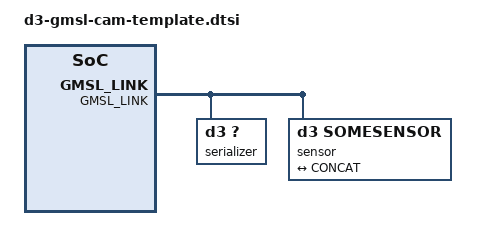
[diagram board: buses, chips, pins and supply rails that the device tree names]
/*
 * Copyright (c) 2018-2019, D3 Engineering. All rights reserved.
 *
 * This program is free software; you can redistribute it and/or modify
 * it under the terms of the GNU General Public License as published by
 * the Free Software Foundation; version 2 of the License.
 *
 * This program is distributed in the hope that it will be useful, but WITHOUT
 * ANY WARRANTY; without even the implied warranty of MERCHANTABILITY or
 * FITNESS FOR A PARTICULAR PURPOSE.  See the GNU General Public License for
 * more details.
 */

#define X_CONCAT(a,b) a##b
#define CONCAT(a,b) X_CONCAT(a,b)

#define XX_STR_CONCAT(a) #a
#define X_STR_CONCAT(a,b) XX_STR_CONCAT(a##b)
#define STR_CONCAT(a,b) X_STR_CONCAT(a,b)

#define HEX_PREFIX(a) CONCAT(0x, a)

&GMSL_LINK {
	serializer@SER_ADDR {
		compatible = "d3,?";
		status = "okay";
		reg = <HEX_PREFIX(SER_ADDR)>;
		#address-cells = <1>;
		#size-cells = <0>;

	};
	sensor@IMG_ADDR {
		status = "okay";
		compatible = "d3,somesensor";
		reg = <HEX_PREFIX(IMG_ADDR)>;
		devnode = "CONCAT(video,PORT_IDX)";

		physical_w = "27.30";
		physical_h = "21.80";
		sensor_model = "sensor_?";
		use_decibel_gain = "true";

		mode0 {
			mclk_khz = "27000";
			num_lanes = "2";
			tegra_sinterface = TEGRA_SINTERFACE;
			discontinuous_clk = "no";
			dpcm_enable = "false";
			cil_settletime = "0";
			csi_pixel_bit_depth = "12";
			mode_type = "bayer";
			pixel_phase = "rggb";
			active_w = "1936";
			active_h = "1100";
			readout_orientation = "0";
			line_length = "4400";
			inherent_gain = "1";
			mclk_multiplier = "5";
			pix_clk_hz = "148500000";

			/* 1-30 dB in .3 dB steps */
			min_gain_val = "1.0";
			max_gain_val = "30.0";
			min_framerate = "30";
			max_framerate = "30";

			/* Units are microseconds */
			min_exp_time = "30";
			max_exp_time = "33333";
			embedded_metadata_height = "1";
		};
		ports {
			#address-cells = <1>;
			#size-cells = <0>;
			port@0 {
				reg = <0>;
				CONCAT(sen_out,PORT_IDX): endpoint {
					status = "okay";
					port-index = <CSI_PORT>;
					bus-width = <2>;
					remote-endpoint = <&CONCAT(csi_in,PORT_IDX)>;
				};
			};
		};
	};
};

&vi_base {
	ports {
		port@CSI_PORT {
			status = "okay";
			reg = <CSI_PORT>;
			CONCAT(vi_in,PORT_IDX): endpoint {
				status = "okay";
				port-index = <CSI_PORT>;
				bus-width = <2>;
				remote-endpoint = <&CONCAT(csi_out,PORT_IDX)>;
			};
		};
	};
};

&csi_base {
	channel@CSI_PORT {
		status = "okay";
		reg = <CSI_PORT>;
		ports {
			port@0 {
				status = "okay";
				reg = <0>;
				CONCAT(csi_in,PORT_IDX): endpoint@ENDPOINT_A {
					status = "okay";
					port-index = <CSI_PORT>;
					bus-width = <2>;
					remote-endpoint = <&CONCAT(sen_out,PORT_IDX)>;
				};
			};

			port@1 {
				status = "okay";
				reg = <1>;
				CONCAT(csi_out,PORT_IDX): endpoint@ENDPOINT_B {
					remote-endpoint = <&CONCAT(vi_in,PORT_IDX)>;
				};
			};
		};
	};
};
